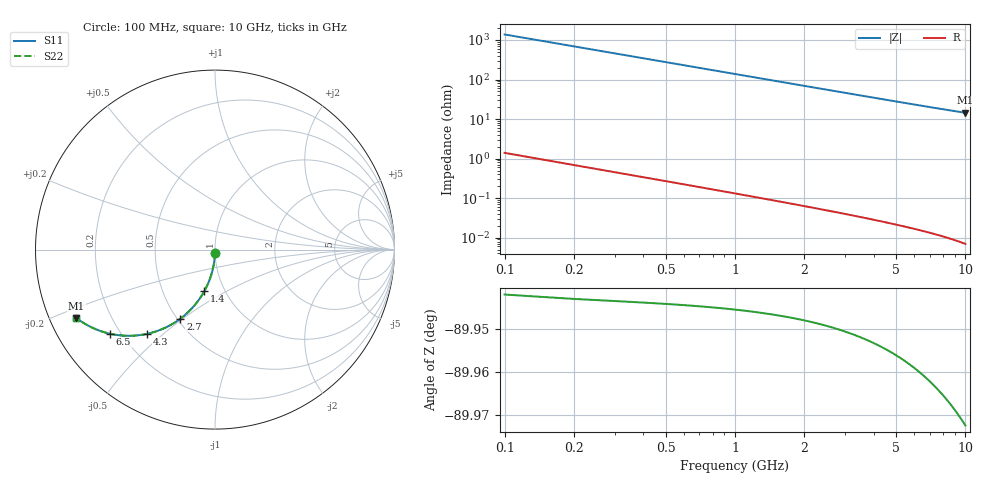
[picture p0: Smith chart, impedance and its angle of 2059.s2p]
# Hz S RI R 50.00
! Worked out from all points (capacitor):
!   100 points, 100 MHz to 10 GHz, reference 50 ohm
!   read as one part in shunt: C = 1.15 pF near 100 MHz
!   lowest |Z| = 14.4 ohm at 10 GHz (marker M1)
!   S11 on the Smith chart (normalised r, x): 100 MHz: 1.00, -0.04; 1.4 GHz: 0.80, -0.40; 2.7 GHz: 0.52, -0.49; 4.3 GHz: 0.30, -0.44; 6.5 GHz: 0.16, -0.34; 10 GHz: 0.08, -0.23
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1e8  -2.77e-05 -0.0177  0.9993 -0.0184  0.9993 -0.0184  -2.77e-05 -0.0177
2e8  -0.00102 -0.0354  0.9983 -0.0368  0.9983 -0.0368  -0.00102 -0.0354
3e8  -0.00266 -0.053  0.9967 -0.0551  0.9967 -0.0551  -0.00266 -0.053
4e8  -0.00494 -0.0705  0.9944 -0.0733  0.9944 -0.0733  -0.00494 -0.0705
5e8  -0.00786 -0.0878  0.9915 -0.0914  0.9915 -0.0914  -0.00786 -0.0878
6e8  -0.0114 -0.105  0.988 -0.1093  0.988 -0.1093  -0.0114 -0.105
7e8  -0.0155 -0.122  0.9838 -0.1269  0.9838 -0.1269  -0.0155 -0.122
9e8  -0.0256 -0.1552  0.9737 -0.1616  0.9737 -0.1616  -0.0256 -0.1552
1.1e9  -0.0379 -0.1873  0.9615 -0.1951  0.9615 -0.1951  -0.0379 -0.1873
1.4e9  -0.06 -0.2327  0.9392 -0.2427  0.9392 -0.2427  -0.06 -0.2327
1.8e9  -0.0957 -0.2877  0.9036 -0.3005  0.9036 -0.3005  -0.0957 -0.2877
2.2e9  -0.1366 -0.3355  0.8626 -0.3511  0.8626 -0.3511  -0.1366 -0.3355
2.7e9  -0.1926 -0.3846  0.8065 -0.4037  0.8065 -0.4037  -0.1926 -0.3846
3.4e9  -0.2748 -0.4341  0.7242 -0.4582  0.7242 -0.4582  -0.2748 -0.4341
4.3e9  -0.378 -0.4692  0.6208 -0.4998  0.6208 -0.4998  -0.378 -0.4692
5.1e9  -0.4616 -0.4798  0.537 -0.5162  0.537 -0.5162  -0.4616 -0.4798
5.8e9  -0.5266 -0.478  0.4719 -0.5194  0.4719 -0.5194  -0.5266 -0.478
6.5e9  -0.5836 -0.469  0.4146 -0.5155  0.4146 -0.5155  -0.5836 -0.469
6.7e9  -0.5985 -0.4654  0.3996 -0.5135  0.3996 -0.5135  -0.5985 -0.4654
7.5e9  -0.6522 -0.4484  0.3456 -0.5023  0.3456 -0.5023  -0.6522 -0.4484
8.4e9  -0.7028 -0.4256  0.2946 -0.4862  0.2946 -0.4862  -0.7028 -0.4256
1e10  -0.7719 -0.3815  0.2247 -0.4542  0.2247 -0.4542  -0.7719 -0.3815
